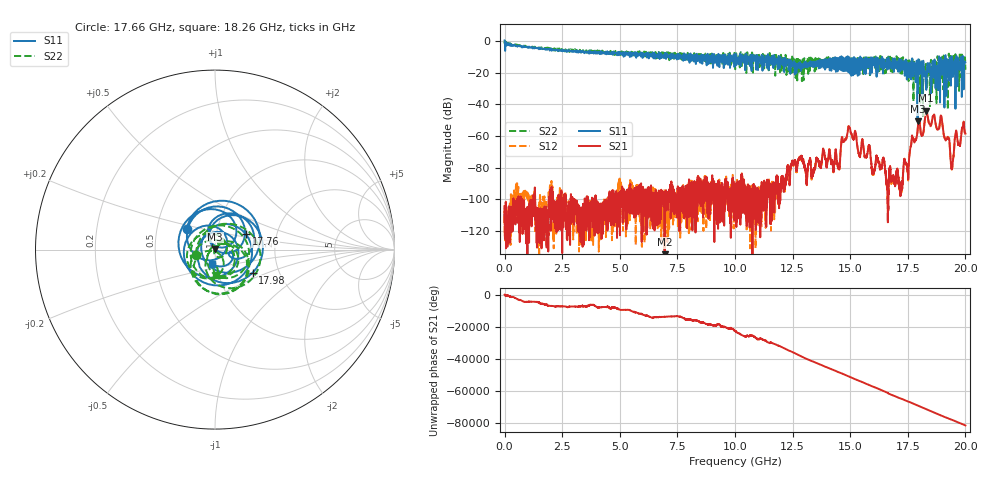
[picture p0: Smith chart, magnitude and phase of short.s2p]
! MS46122B
! 2250307/22442219
! 2/24/2026 9:12:52 AM
! C:\USERS\SPARKY\DOCUMENTS\VNA_DATA\FEB24_2026\WARM-PORT1-CABLE\SHORT.S2P
! CHANNEL.1
! TR.MEASUREMENT
! RAW.DATA
# GHZ S RI R 50.0
! FREQ.GHZ  S11RE  S11IM  S21RE  S21IM  S12RE  S12IM  S22RE  S22IM
!; PortSelection: Port_12
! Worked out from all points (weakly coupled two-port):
!   10001 points, 1 MHz to 20 GHz, reference 50 ohm
!   highest |S21| = -43.98 dB at 18.29 GHz (marker M1); lowest = -140.0 dB at 6.945 GHz (marker M2)
!   lowest |S11| = -50.7 dB at 17.92 GHz (marker M3), VSWR 1.01, Z = 50 + j0.29 ohm
!   |S11| at or under -10 dB: 11.97 GHz to 14.61 GHz (2.638 GHz wide, 19.8 % of centre); 14.9 GHz to 15.43 GHz (531.6 MHz wide, 3.51 % of centre); 15.44 GHz to 18.85 GHz (3.413 GHz wide, 19.9 % of centre) (the widest 3 of 70)
!   |S22| runs from -47.2 to -0.1 dB; largest |S21 - S12| = 0.0014
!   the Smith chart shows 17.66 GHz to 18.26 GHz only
!   S11 on the Smith chart (normalised r, x): 17.66 GHz: 0.71, +0.17; 17.76 GHz: 1.39, +0.25; 17.98 GHz: 1.47, -0.40; 18.26 GHz: 0.96, -0.15
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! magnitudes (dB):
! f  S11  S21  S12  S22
! 1 MHz  0.4  -104.4  -103.7  -0.2
! 3.335 GHz  -7.1  -114.3  -107.5  -5.5
! 6.669 GHz  -9.3  -103.6  -104.7  -9.1
! 6.945 GHz  -8.5  -140.0  -97.8  -10.1
! 10 GHz  -9.7  -98.8  -100.6  -12.7
! 13.33 GHz  -13.6  -86.1  -86.4  -13.3
! 14.49 GHz  -11.8  -79.0  -80.1  -14.0
! 14.97 GHz  -11.3  -54.6  -54.5  -12.8
! 16 GHz  -13.8  -83.8  -83.7  -13.3
! 16.67 GHz  -10.6  -89.9  -92.0  -10.3
! 17.47 GHz  -21.4  -78.9  -78.9  -21.5
! 17.66 GHz  -14.2  -61.9  -61.7  -19.3
! 17.76 GHz  -14.3  -62.4  -62.4  -16.6
! 17.92 GHz  -50.7  -56.8  -56.7  -14.9
! 17.98 GHz  -12.2  -50.9  -51.0  -13.5
! 18.14 GHz  -23.9  -59.6  -59.9  -24.9
! 18.26 GHz  -21.8  -47.2  -47.3  -16.9
! 18.29 GHz  -28.9  -44.0  -44.1  -14.6
! 18.96 GHz  -14.5  -48.3  -48.2  -16.3
! 19.42 GHz  -10.1  -80.9  -81.2  -15.1
! 19.59 GHz  -11.9  -56.7  -56.5  -12.8
! 20 GHz  -13.5  -58.4  -58.9  -18.1
